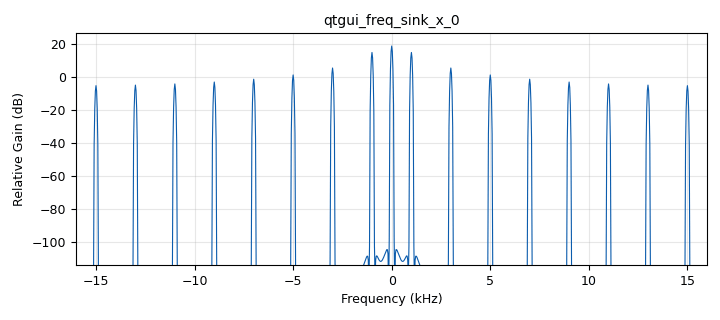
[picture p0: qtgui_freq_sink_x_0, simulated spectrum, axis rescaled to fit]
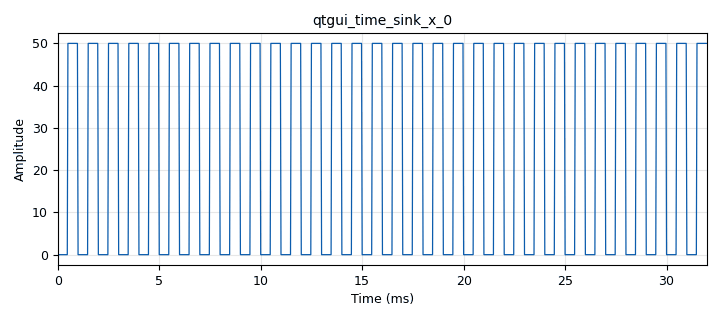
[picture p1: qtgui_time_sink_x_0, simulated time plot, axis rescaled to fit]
options:
  parameters:
    author: labcom
    generate_options: qt_gui
    id: punto_1
    output_language: python
    title: Not titled yet
  states: {}

blocks:
- name: Amplitud
  id: variable_qtgui_range
  parameters:
    label: Amplitud
    start: '0'
    step: '1'
    stop: '100'
    value: '50'
  states: {}
- name: Frecuencia
  id: variable_qtgui_range
  parameters:
    label: Frecuencia
    start: '0'
    step: '1'
    stop: '100'
    value: '50'
  states: {}
- name: samp_rate
  id: variable
  parameters:
    value: '32000'
  states: {}
- name: CalculoPotenciacomunicaciones_0
  id: CalculoPotenciacomunicaciones
  parameters:
    I_vect: '1024'
  states: {}
- name: analog_sig_source_x_0
  id: analog_sig_source_x
  parameters:
    amp: Amplitud
    freq: '1000'
    offset: '0'
    phase: '0'
    samp_rate: samp_rate
    type: float
    waveform: analog.GR_SQR_WAVE
  states: {}
- name: qtgui_freq_sink_x_0
  id: qtgui_freq_sink_x
  parameters:
    bw: samp_rate
    fc: '0'
    fftsize: '1024'
    type: float
  states: {}
- name: qtgui_time_sink_x_0
  id: qtgui_time_sink_x
  parameters:
    size: '1024'
    srate: samp_rate
    type: float
  states: {}

connections:
- [analog_sig_source_x_0, '0', CalculoPotenciacomunicaciones_0, '0']
- [analog_sig_source_x_0, '0', qtgui_freq_sink_x_0, '0']
- [analog_sig_source_x_0, '0', qtgui_time_sink_x_0, '0']

metadata:
  file_format: 1
  grc_version: 3.10.5.1
